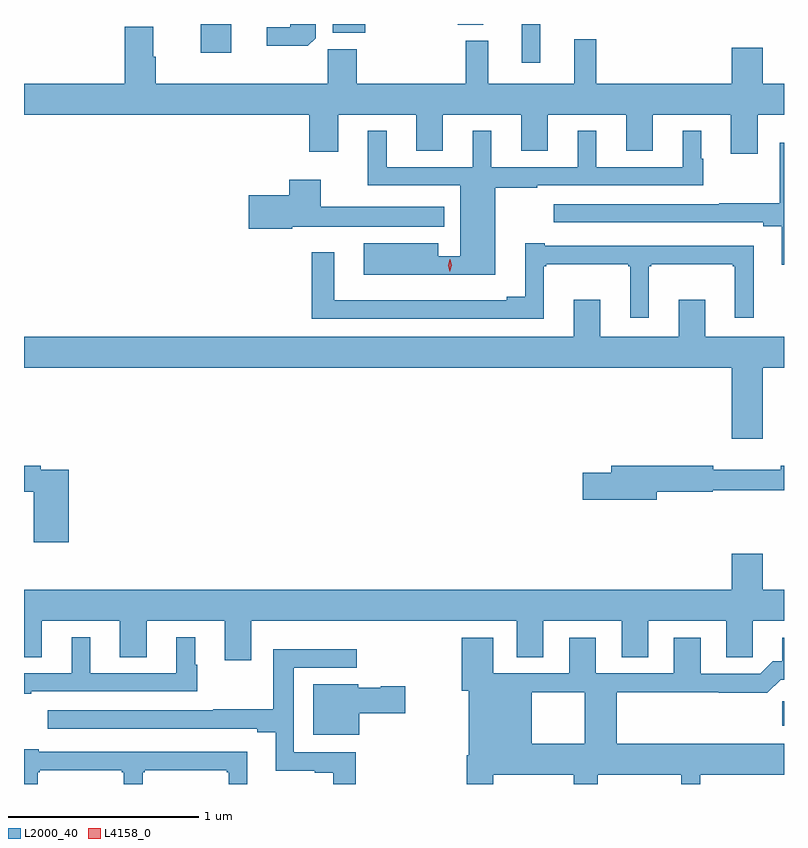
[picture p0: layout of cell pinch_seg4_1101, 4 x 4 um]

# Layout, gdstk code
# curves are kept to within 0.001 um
import gdstk
lib = gdstk.Library(unit=1e-6, precision=1e-09)
def R(c, l, rs):  # rectangles x0, y0, x1, y1
    for r in rs: c.add(gdstk.rectangle(r[:2], r[2:], *l))
def P(c, l, *ps):  # polygons
    for p in ps: c.add(gdstk.Polygon(p, *l))
L2000_40 = (2000, 40)
L4158_0 = (4158, 0)

pinch_seg4_1101 = lib.new_cell('pinch_seg4_1101')
R(pinch_seg4_1101, L2000_40, [(417.024,800.264,417.032,800.393), (415.653,803.754,415.75,803.958), (413.963,803.808,414.124,803.958), (414.656,803.912,414.829,803.958), (415.316,803.954,415.45,803.958)])
P(pinch_seg4_1101, L2000_40, [(414.568,803.884),(414.568,803.958),(414.434,803.958),(414.434,803.94),(414.309,803.94),(414.309,803.843),(414.526,803.843)],
  [(416.893,803.48),(417.032,803.48),(417.032,803.644),(416.92,803.644),(416.92,803.833),(416.756,803.833),(416.756,803.644),(416.045,803.644),(416.045,803.878),(415.928,803.878),(415.928,803.644),(415.475,803.644),(415.475,803.869),(415.357,803.869),(415.357,803.644),(414.782,803.644),(414.782,803.826),(414.631,803.826),(414.631,803.644),(413.726,803.644),(413.726,803.786),(413.713,803.786),(413.713,803.944),(413.561,803.944),(413.561,803.644),(413.032,803.644),(413.032,803.48),(414.533,803.48),(414.533,803.286),(414.685,803.286),(414.685,803.48),(415.097,803.48),(415.097,803.29),(415.237,803.29),(415.237,803.48),(415.649,803.48),(415.649,803.29),(415.789,803.29),(415.789,803.48),(416.201,803.48),(416.201,803.29),(416.341,803.29),(416.341,803.48),(416.753,803.48),(416.753,803.274),(416.893,803.274)],
  [(415.513,803.097),(415.733,803.097),(415.733,803.109),(416.608,803.109),(416.608,803.249),(416.596,803.249),(416.596,803.395),(416.498,803.395),(416.498,803.205),(416.044,803.205),(416.044,803.395),(415.946,803.395),(415.946,803.205),(415.492,803.205),(415.492,803.395),(415.394,803.395),(415.394,803.205),(414.94,803.205),(414.94,803.395),(414.842,803.395),(414.842,803.249),(414.841,803.249),(414.841,803.109),(415.328,803.109),(415.328,802.735),(415.213,802.735),(415.213,802.804),(414.821,802.804),(414.821,802.637),(415.513,802.637)],
  [(417.032,803.332),(417.009,803.332),(417.009,803.015),(416.692,803.015),(416.692,803.01),(415.821,803.01),(415.821,802.914),(416.924,802.914),(416.924,802.894),(417.02,802.894),(417.02,802.692),(417.032,802.692)],
  [(414.444,802.892),(415.243,802.892),(415.243,802.996),(414.595,802.996),(414.595,803.137),(414.428,803.137),(414.428,803.058),(414.216,803.058),(414.216,802.88),(414.444,802.88)],
  [(415.768,802.683),(415.78,802.683),(415.78,802.694),(416.211,802.694),(416.211,802.683),(416.222,802.683),(416.222,802.413),(416.32,802.413),(416.32,802.683),(416.332,802.683),(416.332,802.694),(416.763,802.694),(416.763,802.683),(416.774,802.683),(416.774,802.413),(416.872,802.413),(416.872,802.791),(415.774,802.791),(415.774,802.804),(415.67,802.804),(415.67,802.523),(415.574,802.523),(415.574,802.504),(414.664,802.504),(414.664,802.756),(414.547,802.756),(414.547,802.407),(415.768,802.407)],
  [(416.92,802.148),(417.032,802.148),(417.032,802.312),(416.617,802.312),(416.617,802.507),(416.477,802.507),(416.477,802.312),(416.065,802.312),(416.065,802.507),(415.925,802.507),(415.925,802.312),(413.032,802.312),(413.032,802.148),(416.756,802.148),(416.756,801.774),(416.92,801.774)],
  [(416.362,801.496),(416.658,801.496),(416.658,801.504),(417.032,801.504),(417.032,801.632),(417.016,801.632),(417.016,801.613),(416.66,801.613),(416.66,801.632),(416.123,801.632),(416.123,801.596),(415.974,801.596),(415.974,801.454),(416.362,801.454)],
  [(413.267,801.612),(413.12,801.612),(413.12,801.632),(413.032,801.632),(413.032,801.496),(413.084,801.496),(413.084,801.231),(413.267,801.231)],
  [(414.229,800.816),(415.625,800.816),(415.625,800.626),(415.765,800.626),(415.765,800.816),(416.177,800.816),(416.177,800.626),(416.317,800.626),(416.317,800.816),(416.729,800.816),(416.729,800.626),(416.868,800.626),(416.868,800.816),(417.032,800.816),(417.032,800.98),(416.92,800.98),(416.92,801.169),(416.756,801.169),(416.756,800.98),(413.032,800.98),(413.032,800.626),(413.125,800.626),(413.125,800.816),(413.537,800.816),(413.537,800.626),(413.677,800.626),(413.677,800.816),(414.089,800.816),(414.089,800.61),(414.229,800.61)],
  [(413.069,800.445),(413.944,800.445),(413.944,800.585),(413.932,800.585),(413.932,800.731),(413.834,800.731),(413.834,800.541),(413.38,800.541),(413.38,800.731),(413.282,800.731),(413.282,800.541),(413.032,800.541),(413.032,800.433),(413.069,800.433)],
  [(415.361,800.11),(415.361,799.958),(415.501,799.958),(415.501,800.006),(415.925,800.006),(415.925,799.958),(416.053,799.958),(416.053,800.006),(416.492,800.006),(416.492,799.958),(416.59,799.958),(416.59,800.006),(417.032,800.006),(417.032,800.17),(416.153,800.17),(416.153,800.44),(416.689,800.44),(416.689,800.438),(416.945,800.438),(417.015,800.508),(417.032,800.508),(417.032,800.728),(417.023,800.728),(417.023,800.605),(416.974,800.605),(416.907,800.538),(416.593,800.538),(416.593,800.728),(416.453,800.728),(416.453,800.541),(416.041,800.541),(416.041,800.728),(415.901,800.728),(415.901,800.541),(415.501,800.541),(415.501,800.728),(415.337,800.728),(415.337,800.448),(415.373,800.448),(415.373,800.17),(415.705,800.17),(415.705,800.44),(415.982,800.44),(415.982,800.17),(415.373,800.17),(415.373,800.11)],
  [(414.778,800.124),(414.453,800.124),(414.453,800.571),(414.784,800.571),(414.784,800.668),(414.345,800.668),(414.345,800.351),(414.028,800.351),(414.028,800.346),(413.157,800.346),(413.157,800.25),(414.26,800.25),(414.26,800.23),(414.356,800.23),(414.356,800.028),(414.563,800.028),(414.563,800.016),(414.659,800.016),(414.659,799.958),(414.778,799.958)],
  [(414.796,800.33),(415.039,800.33),(415.039,800.472),(414.909,800.472),(414.909,800.464),(414.792,800.464),(414.792,800.482),(414.554,800.482),(414.554,800.216),(414.796,800.216)],
  [(413.104,800.019),(413.116,800.019),(413.116,800.03),(413.547,800.03),(413.547,800.019),(413.558,800.019),(413.558,799.958),(413.656,799.958),(413.656,800.019),(413.668,800.019),(413.668,800.03),(414.099,800.03),(414.099,800.019),(414.11,800.019),(414.11,799.958),(414.208,799.958),(414.208,800.127),(413.11,800.127),(413.11,800.14),(413.032,800.14),(413.032,799.958),(413.104,799.958)])
P(pinch_seg4_1101, L4158_0, [(415.273,802.655),(415.273,802.655),(415.264,802.688),(415.274,802.72),(415.275,802.72),(415.275,802.72),(415.284,802.687),(415.273,802.655)])

lib.write_gds('pinch_seg4_1101.gds')
